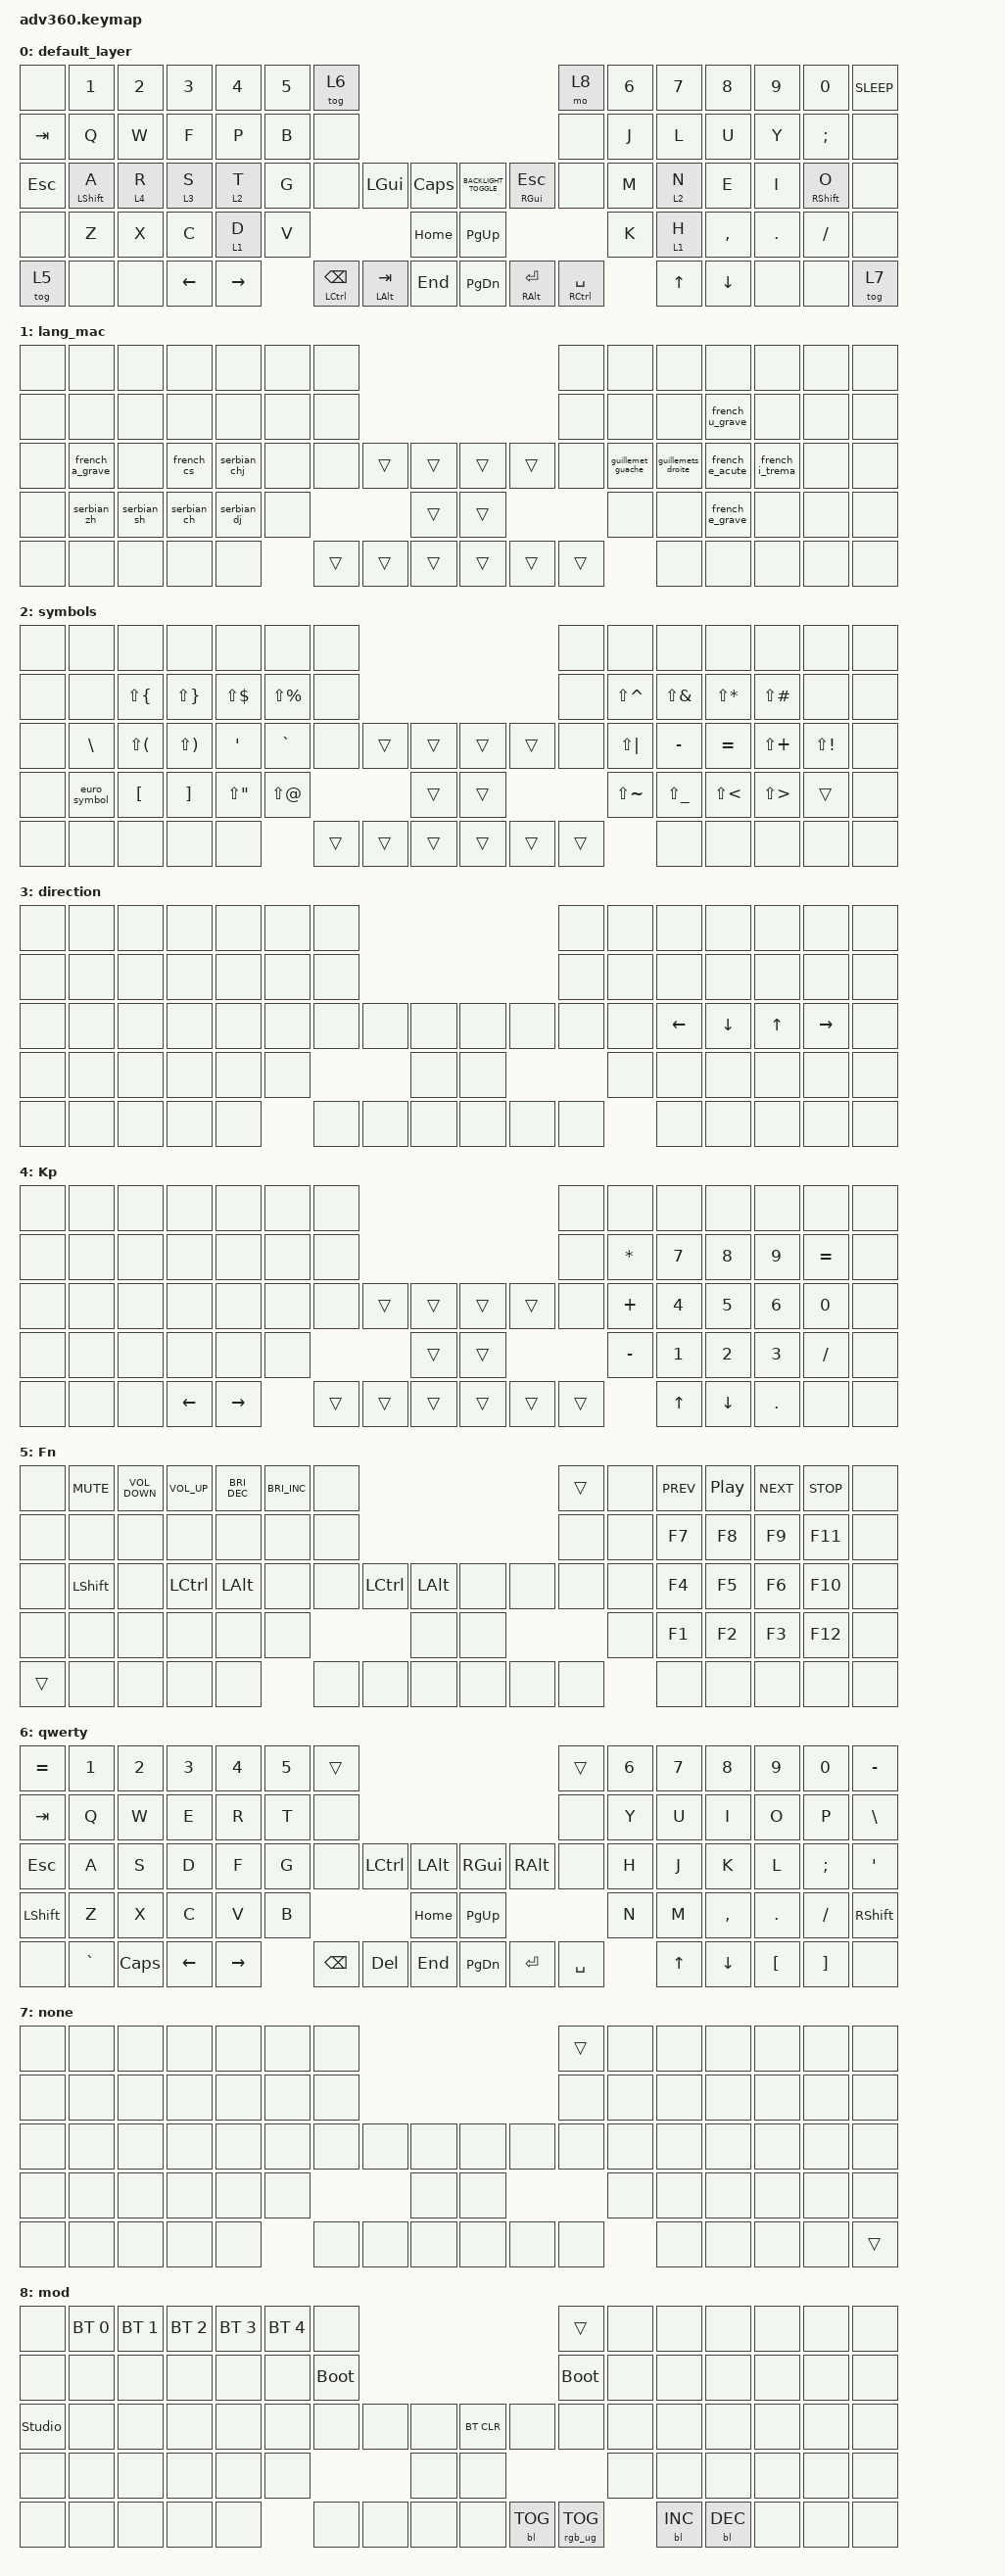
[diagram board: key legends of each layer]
#include <dt-bindings/zmk/stp.h>
#include <behaviors.dtsi>
#include <dt-bindings/zmk/backlight.h>
#include <dt-bindings/zmk/bt.h>
#include <dt-bindings/zmk/keys.h>
#include <dt-bindings/zmk/rgb.h>

/ {
    behaviors {
        #include "macros.dtsi"
      #include "version.dtsi"

        hm: homerow_mods {
            compatible = "zmk,behavior-hold-tap";
            label = "HOMEROW_MODS";
            #binding-cells = <2>;
            tapping-term-ms = <200>;
            quick_tap_ms = <175>;
            flavor = "tap-preferred";
            bindings = <&kp>, <&kp>;
        };
    };

    macros {
        serbian_zh: serbian_zh {
            compatible = "zmk,behavior-macro";
            #binding-cells = <0>;
            bindings = <&kp RA(V) &kp Z>;
            label = "SERBIAN_ZH";
        };

        serbian_dj: serbian_dj {
            compatible = "zmk,behavior-macro";
            #binding-cells = <0>;
            bindings = <&kp RA(L) &kp D>;
            label = "SERBIAN_DJ";
        };

        serbian_sh: serbian_sh {
            compatible = "zmk,behavior-macro";
            #binding-cells = <0>;
            bindings = <&kp RA(V) &kp S>;
            label = "SERBIAN_SH";
        };

        serbian_ch: serbian_ch {
            compatible = "zmk,behavior-macro";
            #binding-cells = <0>;
            bindings = <&kp RA(V) &kp C>;
            label = "SERBIAN_CH";
        };

        serbian_chj: serbian_chj {
            compatible = "zmk,behavior-macro";
            #binding-cells = <0>;
            bindings = <&kp RA(E) &kp C>;
            label = "SERBIAN_CHJ";
        };

        french_cs: french_cs {
            compatible = "zmk,behavior-macro";
            #binding-cells = <0>;
            bindings = <&kp RA(C) &kp C>;
            label = "FRENCH_CS";
        };

        french_a_grave: french_a_grave {
            compatible = "zmk,behavior-macro";
            #binding-cells = <0>;
            bindings = <&kp RA(GRAVE) &kp A>;
            label = "FRENCH_A_GRAVE";
        };

        french_e_grave: french_e_grave {
            compatible = "zmk,behavior-macro";
            #binding-cells = <0>;
            bindings = <&kp RA(GRAVE) &kp E>;
            label = "FRENCH_E_GRAVE";
        };

        french_u_grave: french_u_grave {
            compatible = "zmk,behavior-macro";
            #binding-cells = <0>;
            bindings = <&kp RA(GRAVE) &kp U>;
            label = "FRENCH_U_GRAVE";
        };

        french_e_acute: french_e_acute {
            compatible = "zmk,behavior-macro";
            #binding-cells = <0>;
            bindings = <&kp RA(E) &kp E>;
            label = "FRENCH_E_ACUTE";
        };

        euro_symbol: euro_symbol {
            compatible = "zmk,behavior-macro";
            #binding-cells = <0>;
            bindings = <&kp RA(RS(NUMBER_2))>;
            label = "EURO_SYMBOL";
        };

        french_i_trema: french_i_trema {
            compatible = "zmk,behavior-macro";
            #binding-cells = <0>;
            bindings = <&kp RA(U) &kp I>;
            label = "FRENCH_I_TREMA";
        };

        guillemet_guache: guillemet_guache {
            compatible = "zmk,behavior-macro";
            #binding-cells = <0>;
            bindings = <&kp RA(BACKSLASH)>;
            label = "GUILLEMET_GUACHE";
        };

        guillemets_droite: guillemets_droite {
            compatible = "zmk,behavior-macro";
            #binding-cells = <0>;
            bindings = <&kp RA(RS(BACKSLASH))>;
            label = "GUILLEMETS_DROITE";
        };
    };

    keymap {
        compatible = "zmk,keymap";

        default_layer {
            display-name = "default_layer";
            bindings = <
&none    &kp N1            &kp N2   &kp N3    &kp N4     &kp N5  &tog 6                                                                                            &mo 8            &kp N6  &kp N7   &kp N8     &kp N9   &kp N0             &kp C_SLEEP
&kp TAB  &kp Q             &kp W    &kp F     &kp P      &kp B   &none                                                                                             &none            &kp J   &kp L    &kp U      &kp Y    &kp SEMICOLON      &none
&kp ESC  &mt LEFT_SHIFT A  &lt 4 R  &lt 3 S   &lt 2 T    &kp G   &none                &kp LGUI          &kp CAPS      &kp C_BACKLIGHT_TOGGLE  &mt RGUI ESC         &none            &kp M   &lt 2 N  &kp E      &kp I    &mt RIGHT_SHIFT O  &none
&none    &kp Z             &kp X    &kp C     &lt 1 D    &kp V                                          &kp HOME      &kp PG_UP                                                     &kp K   &lt 1 H  &kp COMMA  &kp DOT  &kp FSLH           &none
&tog 5   &none             &none    &kp LEFT  &kp RIGHT          &mt LCTRL BACKSPACE  &mt LEFT_ALT TAB  &kp END       &kp PG_DN               &mt RIGHT_ALT ENTER  &mt RCTRL SPACE          &kp UP   &kp DOWN   &none    &none              &tog 7
            >;
        };

        lang_mac {
            display-name = "lang_mac";
            bindings = <
&none  &none            &none        &none        &none         &none  &none                                       &none   &none              &none               &none            &none            &none  &none
&none  &none            &none        &none        &none         &none  &none                                       &none   &none              &none               &french_u_grave  &none            &none  &none
&none  &french_a_grave  &none        &french_cs   &serbian_chj  &none  &none   &trans  &trans      &trans  &trans  &none   &guillemet_guache  &guillemets_droite  &french_e_acute  &french_i_trema  &none  &none
&none  &serbian_zh      &serbian_sh  &serbian_ch  &serbian_dj   &none                  &trans      &trans                  &none              &none               &french_e_grave  &none            &none  &none
&none  &none            &none        &none        &none                &trans  &trans  &trans      &trans  &trans  &trans                     &none               &none            &none            &none  &none
            >;
        };

        symbols {
            display-name = "symbols";
            bindings = <
&none  &none         &none         &none         &none         &none          &none                                       &none   &none          &none          &none         &none          &none         &none
&none  &none         &kp LS(LBRC)  &kp LS(RBRC)  &kp LS(DLLR)  &kp LS(PRCNT)  &none                                       &none   &kp LS(CARET)  &kp LS(AMPS)   &kp LS(STAR)  &kp LS(POUND)  &none         &none
&none  &kp BSLH      &kp LS(LPAR)  &kp LS(RPAR)  &kp SQT       &kp GRAVE      &none   &trans  &trans      &trans  &trans  &none   &kp LS(PIPE)   &kp MINUS      &kp EQUAL     &kp LS(PLUS)   &kp LS(EXCL)  &none
&none  &euro_symbol  &kp LBKT      &kp RBKT      &kp LS(DQT)   &kp LS(AT)                     &trans      &trans                  &kp LS(TILDE)  &kp LS(UNDER)  &kp LS(LT)    &kp LS(GT)     &trans        &none
&none  &none         &none         &none         &none                        &trans  &trans  &trans      &trans  &trans  &trans                 &none          &none         &none          &none         &none
            >;
        };

        direction {
            bindings = <
&none  &none  &none  &none  &none  &none  &none                                  &none  &none  &none           &none           &none         &none            &none
&none  &none  &none  &none  &none  &none  &none                                  &none  &none  &none           &none           &none         &none            &none
&none  &none  &none  &none  &none  &none  &none  &none  &none      &none  &none  &none  &none  &kp LEFT_ARROW  &kp DOWN_ARROW  &kp UP_ARROW  &kp RIGHT_ARROW  &none
&none  &none  &none  &none  &none  &none                &none      &none                &none  &none           &none           &none         &none            &none
&none  &none  &none  &none  &none         &none  &none  &none      &none  &none  &none         &none           &none           &none         &none            &none
            >;

            label = "direction";
        };

        keypad {
            display-name = "Kp";
            bindings = <
&none  &none  &none  &none     &none      &none  &none                                       &none   &none         &none         &none         &none         &none         &none
&none  &none  &none  &none     &none      &none  &none                                       &none   &kp ASTERISK  &kp NUMBER_7  &kp NUMBER_8  &kp NUMBER_9  &kp EQUAL     &none
&none  &none  &none  &none     &none      &none  &none   &trans  &trans      &trans  &trans  &none   &kp PLUS      &kp NUMBER_4  &kp NUMBER_5  &kp NUMBER_6  &kp NUMBER_0  &none
&none  &none  &none  &none     &none      &none                  &trans      &trans                  &kp MINUS     &kp N1        &kp NUMBER_2  &kp NUMBER_3  &kp SLASH     &none
&none  &none  &none  &kp LEFT  &kp RIGHT         &trans  &trans  &trans      &trans  &trans  &trans                &kp UP        &kp DOWN      &kp DOT       &none         &none
            >;

            label = "keypad";
        };

        fn {
            display-name = "Fn";
            bindings = <
&none   &kp C_MUTE      &kp C_VOLUME_DOWN  &kp C_VOLUME_UP  &kp C_BRIGHTNESS_DEC  &kp C_BRIGHTNESS_INC  &none                                                    &trans  &none  &kp C_PREV  &kp C_PLAY_PAUSE  &kp C_NEXT  &kp C_STOP  &none
&none   &none           &none              &none            &none                 &none                 &none                                                    &none   &none  &kp F7      &kp F8            &kp F9      &kp F11     &none
&none   &kp LEFT_SHIFT  &none              &kp LCTRL        &kp LEFT_ALT          &none                 &none  &kp LEFT_CONTROL  &kp LEFT_ALT      &none  &none  &none   &none  &kp F4      &kp F5            &kp F6      &kp F10     &none
&none   &none           &none              &none            &none                 &none                                          &none             &none                 &none  &kp F1      &kp F2            &kp F3      &kp F12     &none
&trans  &none           &none              &none            &none                                       &none  &none             &none             &none  &none  &none          &none       &none             &none       &none       &none
            >;

            label = "fn";
        };

        qwerty {
            bindings = <
&kp EQUAL  &kp N1     &kp N2    &kp N3          &kp N4           &kp N5  &trans                                                        &trans     &kp N6  &kp N7        &kp N8          &kp N9    &kp N0    &kp MINUS
&kp TAB    &kp Q      &kp W     &kp E           &kp R            &kp T   &none                                                         &none      &kp Y   &kp U         &kp I           &kp O     &kp P     &kp BSLH
&kp ESC    &kp A      &kp S     &kp D           &kp F            &kp G   &none     &kp LCTRL   &kp LALT      &kp RIGHT_GUI  &kp RALT   &none      &kp H   &kp J         &kp K           &kp L     &kp SEMI  &kp APOS
&kp LSHFT  &kp Z      &kp X     &kp C           &kp V            &kp B                         &kp HOME      &kp PAGE_UP                          &kp N   &kp M         &kp COMMA       &kp DOT   &kp FSLH  &kp RSHFT
&none      &kp GRAVE  &kp CAPS  &kp LEFT_ARROW  &kp RIGHT_ARROW          &kp BSPC  &kp DELETE  &kp END       &kp PAGE_DOWN  &kp ENTER  &kp SPACE          &kp UP_ARROW  &kp DOWN_ARROW  &kp LBKT  &kp RBKT  &none
            >;
        };

        none {
            display-name = "none";
            bindings = <
&none  &none  &none  &none  &none  &none  &none                                  &trans  &none  &none  &none  &none  &none  &none
&none  &none  &none  &none  &none  &none  &none                                  &none   &none  &none  &none  &none  &none  &none
&none  &none  &none  &none  &none  &none  &none  &none  &none      &none  &none  &none   &none  &none  &none  &none  &none  &none
&none  &none  &none  &none  &none  &none                &none      &none                 &none  &none  &none  &none  &none  &none
&none  &none  &none  &none  &none         &none  &none  &none      &none  &none  &none          &none  &none  &none  &none  &trans
            >;

            label = "none";
        };

        mod {
            display-name = "mod";
            bindings = <
&none           &bt BT_SEL 0  &bt BT_SEL 1  &bt BT_SEL 2  &bt BT_SEL 3  &bt BT_SEL 4  &none                                                  &trans           &none  &none       &none       &none  &none  &none
&none           &none         &none         &none         &none         &none         &bootloader                                            &bootloader      &none  &none       &none       &none  &none  &none
&studio_unlock  &none         &none         &none         &none         &none         &none        &none  &none      &bt BT_CLR  &none       &none            &none  &none       &none       &none  &none  &none
&none           &none         &none         &none         &none         &none                             &none      &none                                    &none  &none       &none       &none  &none  &none
&none           &none         &none         &none         &none                       &none        &none  &none      &none       &bl BL_TOG  &rgb_ug RGB_TOG         &bl BL_INC  &bl BL_DEC  &none  &none  &none
            >;
        };
    };
};
